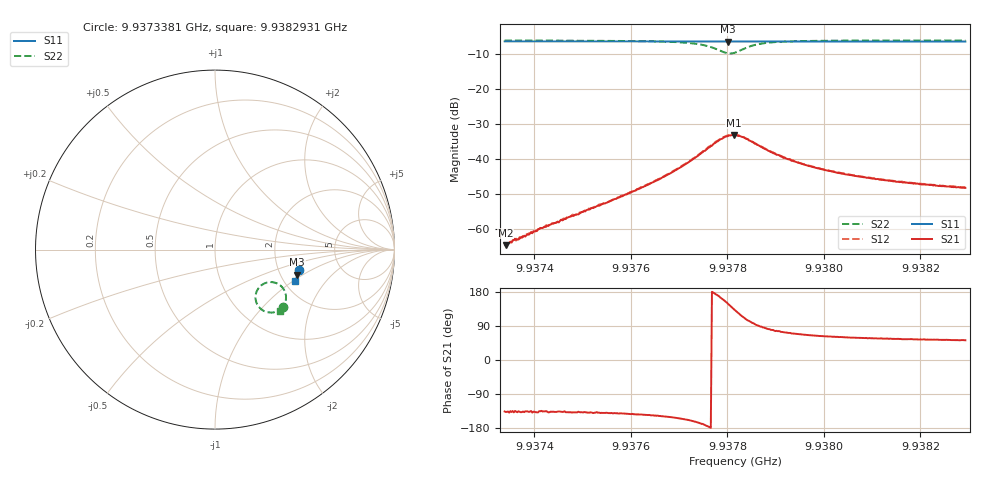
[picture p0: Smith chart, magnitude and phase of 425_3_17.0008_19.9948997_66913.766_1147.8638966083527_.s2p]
#  HZ  S  RI  R  50.00
! Rohde & Schwarz Vector Network Analyzer
! Rohde-Schwarz,ZNB20-2Port,1311601062101988,3.16
! Created: UTC 3/20/2024, 11:11:08 PM
! freq[Hz]  re:S11  im:S11  re:S21  im:S21  re:S12  im:S12  re:S22  im:S22
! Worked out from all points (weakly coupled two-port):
!   401 points, 9.9373381 GHz to 9.9382931 GHz, reference 50 ohm
!   highest |S21| = -33.10 dB at 9.9378132 GHz (marker M1); lowest = -64.6 dB at 9.9373405 GHz (marker M2)
!   lowest |S11| = -6.4 dB at 9.9378013 GHz (marker M3), VSWR 2.84, Z = 123 - j44.7 ohm
!   |S11| at or under -10 dB: nowhere
!   |S22| runs from -9.8 to -6.1 dB; largest |S21 - S12| = 0.00092
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9.9373381e9  0.4706 -0.111  -0.000453 -0.000438  -0.000424 -0.000379  0.3815 -0.3195
9.93734048e9  0.4705 -0.1112  -0.000431 -0.000402  -0.000436 -0.000417  0.3813 -0.3196
9.93734526e9  0.4702 -0.1114  -0.000443 -0.000429  -0.000457 -0.000407  0.3811 -0.3199
9.93735481e9  0.4701 -0.1122  -0.000484 -0.000492  -0.000503 -0.000451  0.3801 -0.3205
9.93738107e9  0.4695 -0.1139  -0.000555 -0.000549  -0.000611 -0.000549  0.3782 -0.3224
9.93741211e9  0.469 -0.1159  -0.000736 -0.00073  -0.000725 -0.000714  0.3753 -0.325
9.93749806e9  0.467 -0.1218  -0.0013 -0.00118  -0.00133 -0.00113  0.3662 -0.332
9.9376055e9  0.4647 -0.129  -0.00278 -0.00209  -0.00282 -0.00204  0.3481 -0.3426
9.93765802e9  0.4632 -0.1325  -0.00435 -0.00273  -0.00443 -0.00275  0.3322 -0.3483
9.93770816e9  0.4617 -0.1358  -0.00732 -0.00332  -0.00755 -0.00326  0.3053 -0.3508
9.93775114e9  0.46 -0.1386  -0.0129 -0.00218  -0.0132 -0.00207  0.2624 -0.336
9.93778217e9  0.4584 -0.1402  -0.0181 0.00365  -0.0184 0.00434  0.227 -0.2816
9.93780127e9  0.4578 -0.1403  -0.0182 0.0114  -0.0183 0.0121  0.2372 -0.223
9.93781321e9  0.4577 -0.1408  -0.0154 0.0159  -0.0152 0.0164  0.2668 -0.1932
9.9378156e9  0.4578 -0.1407  -0.0144 0.0163  -0.0142 0.0171  0.2741 -0.1892
9.93783709e9  0.4582 -0.1418  -0.00639 0.0187  -0.00601 0.0191  0.339 -0.1858
9.93786813e9  0.4584 -0.1438  0.000458 0.0151  0.000871 0.0153  0.3851 -0.2249
9.93792065e9  0.4574 -0.1479  0.00313 0.00985  0.00321 0.00979  0.3956 -0.2729
9.93797556e9  0.4562 -0.1517  0.00328 0.00702  0.00346 0.00703  0.3905 -0.2973
9.93804719e9  0.4544 -0.1566  0.00302 0.00522  0.00314 0.00522  0.3824 -0.3144
9.93813553e9  0.4521 -0.1623  0.00273 0.0041  0.00284 0.00407  0.374 -0.327
9.9382931e9  0.4476 -0.1724  0.00238 0.00305  0.00248 0.00306  0.3616 -0.3414
